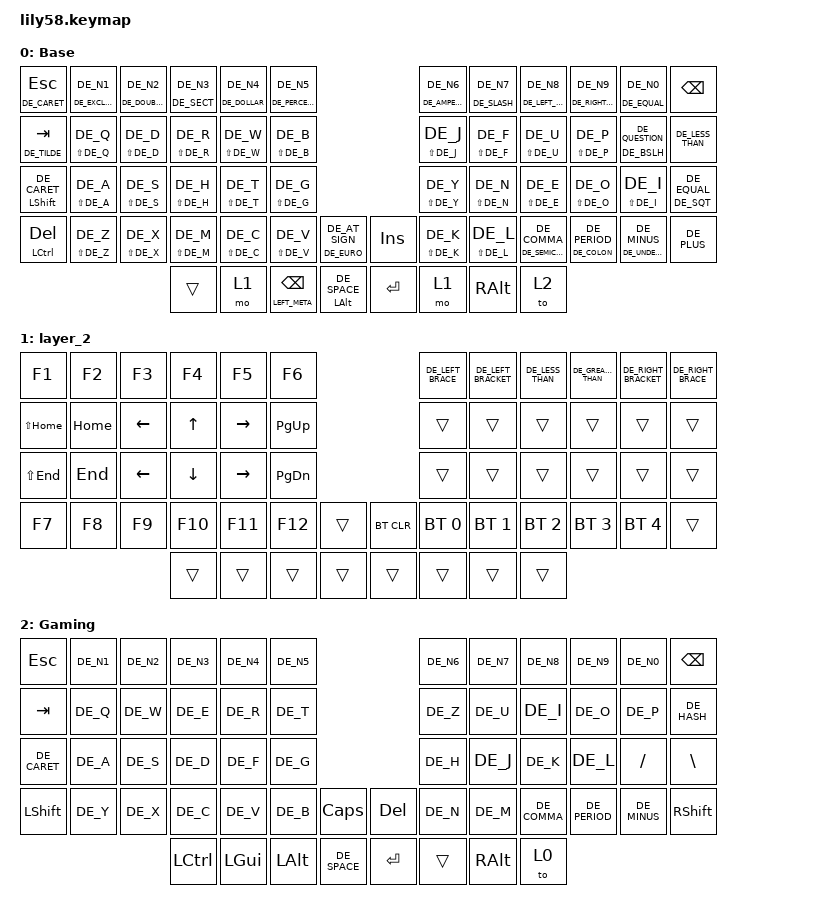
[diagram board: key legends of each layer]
/*
 * Copyright (c) 2020 The ZMK Contributors
 *
 * SPDX-License-Identifier: MIT
 */

#include <behaviors.dtsi>
#include <dt-bindings/zmk/bt.h>
#include <dt-bindings/zmk/keys.h>
#include "keys_de.h"

&mt {
    tapping-term-ms = <400>; // This is the value already set by default
};

/ {
    keymap {
        compatible = "zmk,keymap";

        default_layer {
            // ------------------------------------------------------------------------------------------------------------
            // |  ESC  |  1  |  2  |  3   |  4   |  5   |                   |  6   |  7    |  8    |  9   |   0   |   `   |
            // |  TAB  |  Q  |  W  |  E   |  R   |  T   |                   |  Y   |  U    |  I    |  O   |   P   |   -   |
            // |  CTRL |  A  |  S  |  D   |  F   |  G   |                   |  H   |  J    |  K    |  L   |   ;   |   '   |
            // | SHIFT |  Z  |  X  |  C   |  V   |  B   |   "["  |  |  "]"  |  N   |  M    |  ,    |  .   |   /   | SHIFT |
            //                     | ALT  | GUI  | LOWER|  SPACE |  | ENTER | RAISE| BSPC  | GUI   |

            label = "Base";
            bindings = <
&mt DE_CARET ESCAPE      &mt DE_EXCLAMATION DE_N1  &mt DE_DOUBLE_QUOTES DE_N2  &mt DE_SECT DE_N3  &mt DE_DOLLAR DE_N4  &mt DE_PERCENT DE_N5                                           &mt DE_AMPERSAND DE_N6  &mt DE_SLASH DE_N7  &mt DE_LEFT_PARENTHESIS DE_N8  &mt DE_RIGHT_PARENTHESIS DE_N9  &mt DE_EQUAL DE_N0          &kp BACKSPACE
&mt DE_TILDE TAB         &mt LS(DE_Q) DE_Q         &mt LS(DE_D) DE_D           &mt LS(DE_R) DE_R  &mt LS(DE_W) DE_W    &mt LS(DE_B) DE_B                                              &mt LS(DE_J) DE_J       &mt LS(DE_F) DE_F   &mt LS(DE_U) DE_U              &mt LS(DE_P) DE_P               &mt DE_BSLH DE_QUESTION     &kp DE_LESS_THAN
&mt LEFT_SHIFT DE_CARET  &mt LS(DE_A) DE_A         &mt LS(DE_S) DE_S           &mt LS(DE_H) DE_H  &mt LS(DE_T) DE_T    &mt LS(DE_G) DE_G                                              &mt LS(DE_Y) DE_Y       &mt LS(DE_N) DE_N   &mt LS(DE_E) DE_E              &mt LS(DE_O) DE_O               &mt LS(DE_I) DE_I           &mt DE_SQT DE_EQUAL
&mt LEFT_CONTROL DELETE  &mt LS(DE_Z) DE_Z         &mt LS(DE_X) DE_X           &mt LS(DE_M) DE_M  &mt LS(DE_C) DE_C    &mt LS(DE_V) DE_V        &mt DE_EURO DE_AT_SIGN    &kp INSERT  &mt LS(DE_K) DE_K       &mt LS(DE_L) DE_L   &mt DE_SEMICOLON DE_COMMA      &mt DE_COLON DE_PERIOD          &mt DE_UNDERSCORE DE_MINUS  &kp DE_PLUS
                                                                               &trans             &mo 1                &mt LEFT_META BACKSPACE  &mt LEFT_ALT DE_SPACE     &kp RET     &mo 1                   &kp RIGHT_ALT       &to 2
            >;
        };

        layer_2 {
            bindings = <
&kp F1        &kp F2    &kp F3          &kp F4    &kp F5     &kp F6                           &kp DE_LEFT_BRACE  &kp DE_LEFT_BRACKET  &kp DE_LESS_THAN  &kp DE_GREATER_THAN  &kp DE_RIGHT_BRACKET  &kp DE_RIGHT_BRACE
&kp LS(HOME)  &kp HOME  &kp LEFT        &kp UP    &kp RIGHT  &kp PG_UP                        &trans             &trans               &trans            &trans               &trans                &trans
&kp LS(END)   &kp END   &kp LEFT_ARROW  &kp DOWN  &kp RIGHT  &kp PG_DN                        &trans             &trans               &trans            &trans               &trans                &trans
&kp F7        &kp F8    &kp F9          &kp F10   &kp F11    &kp F12    &trans    &bt BT_CLR  &bt BT_SEL 0       &bt BT_SEL 1         &bt BT_SEL 2      &bt BT_SEL 3         &bt BT_SEL 4          &trans
                                        &trans    &trans     &trans     &trans    &trans      &trans             &trans               &trans
            >;
        };

        layer_3 {
            label = "Gaming";
            bindings = <
&kp ESCAPE      &kp DE_N1  &kp DE_N2  &kp DE_N3  &kp DE_N4     &kp DE_N5                                 &kp DE_N6  &kp DE_N7      &kp DE_N8     &kp DE_N9      &kp DE_N0     &kp BACKSPACE
&kp TAB         &kp DE_Q   &kp DE_W   &kp DE_E   &kp DE_R      &kp DE_T                                  &kp DE_Z   &kp DE_U       &kp DE_I      &kp DE_O       &kp DE_P      &kp DE_HASH
&kp DE_CARET    &kp DE_A   &kp DE_S   &kp DE_D   &kp DE_F      &kp DE_G                                  &kp DE_H   &kp DE_J       &kp DE_K      &kp DE_L       &kp SLASH     &kp BACKSLASH
&kp LEFT_SHIFT  &kp DE_Y   &kp DE_X   &kp DE_C   &kp DE_V      &kp DE_B      &kp CAPSLOCK    &kp DELETE  &kp DE_N   &kp DE_M       &kp DE_COMMA  &kp DE_PERIOD  &kp DE_MINUS  &kp RIGHT_SHIFT
                                      &kp LCTRL  &kp LEFT_GUI  &kp LEFT_ALT  &kp DE_SPACE    &kp ENTER   &trans     &kp RIGHT_ALT  &to 0
            >;
        };
    };
};
